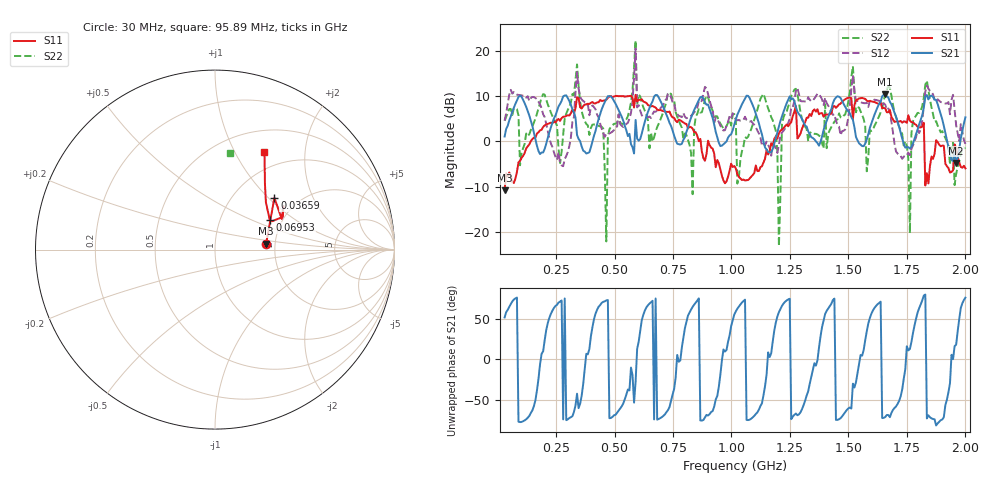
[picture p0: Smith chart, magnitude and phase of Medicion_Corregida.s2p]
# Hz S RI R 50.000000
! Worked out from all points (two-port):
!   300 points, 30 MHz to 2 GHz, reference 50 ohm
!   highest |S21| = 10.36 dB at 1.657 GHz (marker M1); lowest = -4.8 dB at 1.96 GHz (marker M2)
!   |S21| within 3 dB of the highest: 1.623 GHz to 1.689 GHz (66.22 MHz wide, 4 % of centre); 1.822 GHz to 1.886 GHz (64.39 MHz wide, 3.47 % of centre) (the widest 2 of 10)
!   lowest |S11| = -10.8 dB at 30 MHz (marker M3), VSWR 1.80, Z = 89.5 + j6.53 ohm
!   |S11| at or under -10 dB: start of sweep to 31.5 MHz
!   |S22| runs from -23.1 to 22.2 dB; largest |S21 - S12| = 9.1
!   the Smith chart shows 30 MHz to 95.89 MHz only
!   S11 on the Smith chart (normalised r, x): 30 MHz: 1.79, +0.13; 36.59 MHz: 1.52, +1.09; 69.53 MHz: 1.72, +0.65; 95.89 MHz: 0.77, +1.32
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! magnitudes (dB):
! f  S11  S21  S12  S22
! 30 MHz  -10.8  1.1  4.6  4.5
! 36.59 MHz  -7.1  2.7  6.1  5.3
! 69.53 MHz  -9.2  7.4  10.9  7.3
! 95.89 MHz  -4.3  10.1  10.2  -5.3
! 359.4 MHz  7.2  -1.1  9.2  6.7
! 451.7 MHz  8.9  7.9  1.8  2.8
! 464.8 MHz  9.2  9.3  1.7  -22.1
! 471.4 MHz  9.6  10.0  1.7  0.8
! 590 MHz  10.3  4.7  20.5  22.2
! 688.9 MHz  6.9  9.7  6.9  3.9
! 1.018 GHz  -5.9  4.8  4.9  4.9
! 1.176 GHz  -1.0  -1.7  -0.9  4.6
! 1.203 GHz  1.8  3.3  -0.8  -23.1
! 1.223 GHz  2.9  6.5  2.3  5.3
! 1.348 GHz  6.7  0.7  9.0  1.8
! 1.657 GHz  7.3  10.4  8.1  10.7
! 1.677 GHz  6.9  8.7  6.6  11.8
! 1.763 GHz  4.5  -1.6  -3.0  -20.3
! 1.769 GHz  4.2  -1.3  -1.7  1.9
! 1.835 GHz  -7.0  10.2  12.3  13.4
! 1.96 GHz  -1.5  -4.8  3.6  -7.2
! 2 GHz  -6.0  5.3  -0.6  -1.6
